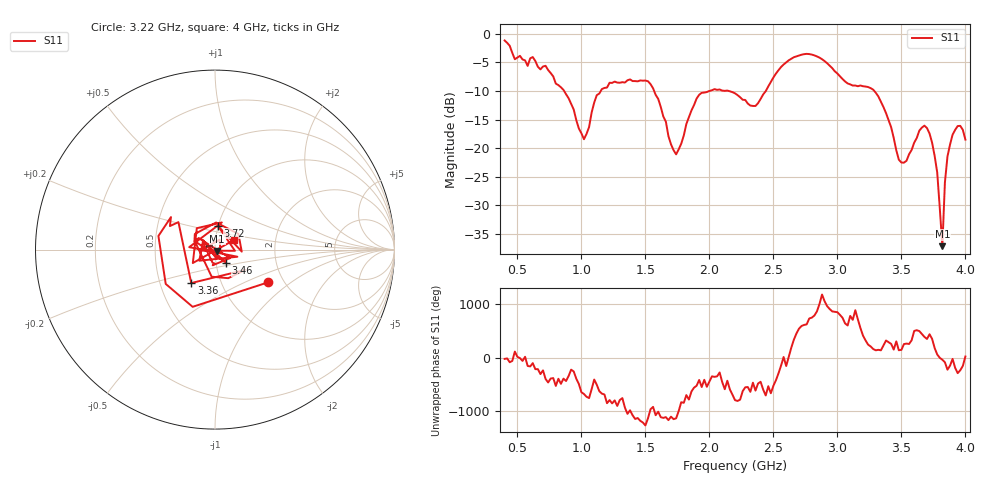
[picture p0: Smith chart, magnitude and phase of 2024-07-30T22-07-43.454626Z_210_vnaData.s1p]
!Created with skrf (http://scikit-rf.org).
# Hz S RI R 50.0
!freq ReS11 ImS11
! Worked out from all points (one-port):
!   181 points, 400 MHz to 4 GHz, reference 50 ohm
!   lowest |S11| = -37.2 dB at 3.82 GHz (marker M1), VSWR 1.03, Z = 51.2 - j0.768 ohm
!   |S11| at or under -10 dB: 1.568 GHz to 1.999 GHz (431.1 MHz wide, 24.2 % of centre); 2.151 GHz to 2.441 GHz (290.1 MHz wide, 12.6 % of centre); 3.288 GHz to end of sweep (the widest 3 of 4)
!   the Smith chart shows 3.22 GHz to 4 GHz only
!   S11 on the Smith chart (normalised r, x): 3.22 GHz: 1.65, -0.69; 3.36 GHz: 0.72, -0.28; 3.46 GHz: 1.12, -0.17; 3.72 GHz: 1.00, +0.27; 4 GHz: 1.23, +0.13
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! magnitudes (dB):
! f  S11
! 400 MHz  -1.2
! 480 MHz  -4.4
! 860 MHz  -9.8
! 1.02 GHz  -18.4
! 1.12 GHz  -10.7
! 1.3 GHz  -8.6
! 1.54 GHz  -8.8
! 1.7 GHz  -19.3
! 1.76 GHz  -20.2
! 1.92 GHz  -10.7
! 2.2 GHz  -10.4
! 2.36 GHz  -12.6
! 2.66 GHz  -4.1
! 2.86 GHz  -4.2
! 3.1 GHz  -8.8
! 3.22 GHz  -9.2
! 3.36 GHz  -12.8
! 3.46 GHz  -20.4
! 3.5 GHz  -22.5
! 3.56 GHz  -21.1
! 3.66 GHz  -16.4
! 3.72 GHz  -17.5
! 3.78 GHz  -24.3
! 3.82 GHz  -37.2
! 3.84 GHz  -26.0
! 3.88 GHz  -19.4
! 3.94 GHz  -16.1
! 4 GHz  -18.5
